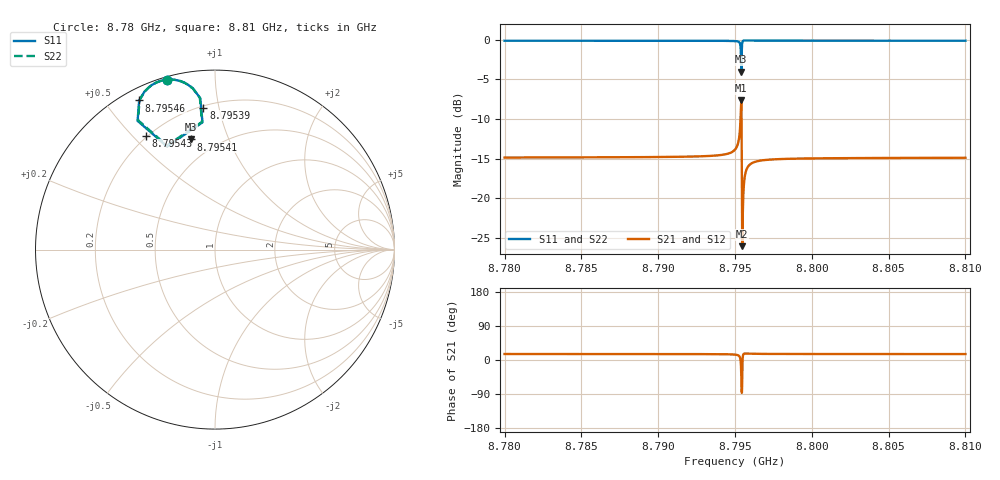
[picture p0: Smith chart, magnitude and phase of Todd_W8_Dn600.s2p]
! Sonnet Data File
! From: emgraph Version : 16.52
! From Project: transmon_brgOdd
! Data is De-embedded
! Data File Written: 11/12/2017 17:05:32
!< HDATE 11/11/2017 22:57:51
!< MDATE 11/11/2017 22:57:51
!< PARAMS
!< Lj = 15.24
!< Gap = 6.0
!< Width = 10.0
!< Airgap = 6.0
!< Pwidth = 2000.0
!< Dist = 600.0
!< END PARAMS
# GHZ S MA R 34.67000
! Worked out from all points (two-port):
!   3001 points, 8.78 GHz to 8.81 GHz, reference 34.67 ohm
!   highest |S21| = -7.62 dB at 8.79541 GHz (marker M1); lowest = -26.0 dB at 8.79547 GHz (marker M2)
!   |S21| within 3 dB of the highest: 8.795344 GHz to 8.795427 GHz (82.72 kHz wide, 0.000941 % of centre)
!   lowest |S11| = -4.0 dB at 8.79541 GHz (marker M3), VSWR 4.38, Z = 12.6 + j25.6 ohm
!   |S11| at or under -10 dB: nowhere
!   |S22| runs from -4.0 to -0.1 dB; largest |S21 - S12| = 0
!   S11 on the Smith chart (normalised r, x): 8.78 GHz: 0.01, +0.76; 8.79539 GHz: 0.21, +0.90; 8.79541 GHz: 0.36, +0.74; 8.79543 GHz: 0.20, +0.55; 8.79546 GHz: 0.05, +0.61; 8.81 GHz: 0.01, +0.76
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8.78  0.9835 105.8  0.1809 15.8  0.1809 15.8  0.9835 105.8
!< P1 F=8.78 Eeff=(5.13743391 -5.7017e-5) Z0=(34.6430374 -9.7216e-5) R=0.0 C=0.0
!< P2 F=8.78 Eeff=(5.13743391 -5.7017e-5) Z0=(34.6430374 -9.7216e-5) R=0.0 C=0.0
8.785  0.9834 105.8  0.1813 15.8  0.1813 15.8  0.9834 105.7
8.79  0.9832 105.7  0.1823 15.7  0.1823 15.7  0.9832 105.7
8.79391  0.9823 105.4  0.1868 15.4  0.1868 15.4  0.9823 105.4
8.795  0.9783 104.5  0.2029 14.2  0.2029 14.2  0.9783 104.4
8.79521  0.9708 103.2  0.2247 12.2  0.2247 12.2  0.9708 103.2
8.79528  0.9611 101.9  0.2457 10.0  0.2457 10.0  0.9612 101.9
8.7953  0.9555 101.3  0.2558 8.8  0.2558 8.8  0.9557 101.3
8.79539  0.7933 94.7  0.3892 -15.8  0.3892 -15.8  0.7951 94.9
8.79541  0.6279 102.3  0.4159 -42.7  0.4159 -42.7  0.6325 102.4
8.79543  0.7388 121.3  0.2704 -77.8  0.2704 -77.8  0.7422 121.1
8.79546  0.9321 117.0  0.06856 -73.8  0.06856 -73.8  0.933 116.8
8.79547  0.9519 115.3  0.05007 -46.8  0.05007 -46.8  0.9525 115.2
8.79554  0.9845 110.2  0.1042 14.7  0.1042 14.7  0.9846 110.1
8.79557  0.9863 109.4  0.1188 16.2  0.1188 16.2  0.9864 109.3
8.7956  0.987 108.8  0.1288 16.7  0.1288 16.7  0.9871 108.7
8.79567  0.9873 108.0  0.1431 16.9  0.1431 16.9  0.9873 107.9
8.79576  0.9869 107.4  0.153 16.8  0.153 16.8  0.9869 107.3
8.79617  0.9855 106.5  0.1681 16.4  0.1681 16.4  0.9855 106.4
8.8  0.9839 105.8  0.1787 15.8  0.1787 15.8  0.9839 105.8
8.805  0.9837 105.7  0.1799 15.7  0.1799 15.7  0.9837 105.7
8.81  0.9836 105.7  0.1803 15.6  0.1803 15.6  0.9836 105.6
